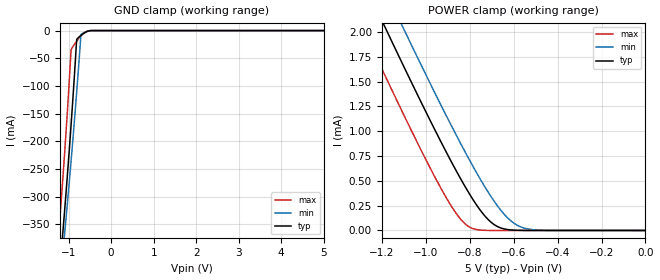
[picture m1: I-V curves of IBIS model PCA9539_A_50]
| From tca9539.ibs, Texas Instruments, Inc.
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[Model]   PCA9539_A_50
Model_type  Input
Vinl=1.35
Vinh=3.85
| variable   typ   min   max
C_comp   3.08pF   1.64pF   7.41pF
[Temperature Range]   40   100   -40
| Ambient temperature   25   85   -40
[Voltage range]   5   4.5   5.5
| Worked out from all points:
|   GND clamp passes 1 mA (typ) near -0.54 V on its own axis
|   POWER clamp passes 1 mA (typ) near -0.96 V on its own axis
[GND Clamp]
| PCA9539_A_50
|   Voltage   I(typ)   I(min)   I(max)
-5.5V     -1.952A    -1.991A    -1.822A
-1.24V    -456.1mA   -482.2mA   -371.1mA
-1.205V   -425.8mA   -455.2mA   -337.1mA
-1.135V   -362.9mA   -399.8mA   -265.2mA
-1.1V     -330.1mA   -371.2mA   -227.1mA
-1.07V    -301.2mA   -346.3mA   -193.2mA
-1.005V   -236.2mA   -290.9mA   -115.2mA
-945mV    -172.6mA   -237.7mA   -36.94mA
-810mV    -16.02mA   -110.1mA   -19.15mA
-710mV    -8.623mA   -7.36mA    -9.218mA
-555mV    -1.256mA   -1.321mA   -672uA
5V        122pA      5.559uA    78.9pA
[POWER Clamp]
| PCA9539_A_50
|   Voltage   I(typ)   I(min)   I(max)
-5.5V     23.22mA    23.56mA    22.79mA
-1.315V   2.658mA    3.034mA    2.172mA
-1.25V    2.35mA     2.727mA    1.863mA
-1.195V   2.092mA    2.469mA    1.605mA
-1.095V   1.628mA    2.005mA    1.141mA
-935mV    911uA      1.281mA    441.2uA
-835mV    496.2uA    849.9uA    97.5uA
-785mV    311.2uA    645.8uA    18.53uA
-715mV    108uA      382.7uA    733.7nA
-610mV    5.103uA    92.47uA    4.595nA
-490mV    68.92nA    4.139uA    120pA
-95.1fV   122pA      284.2pA    92.47pA
